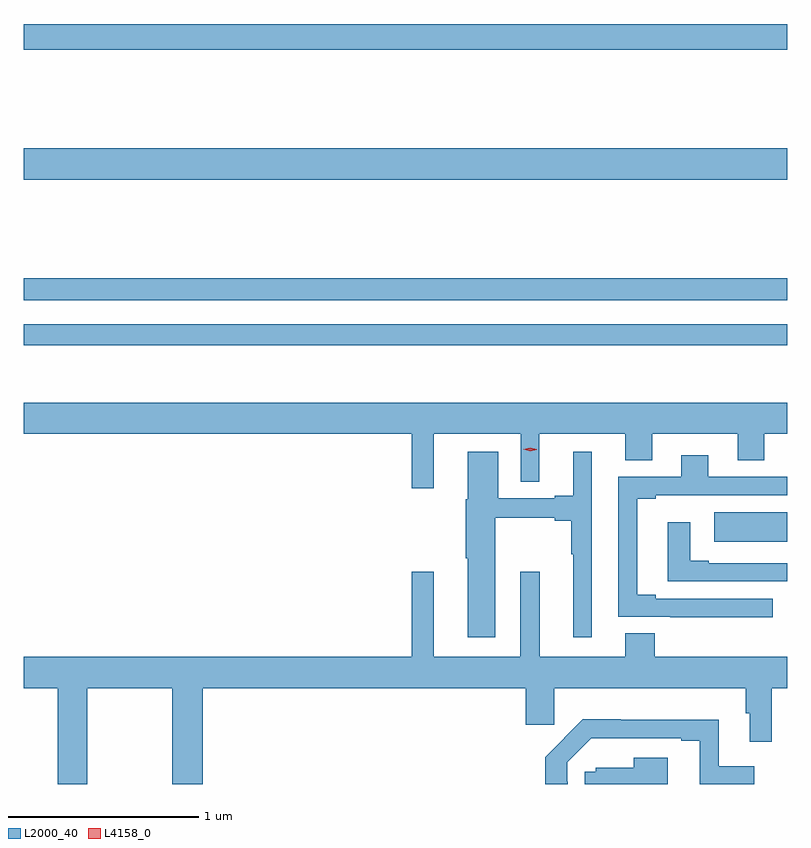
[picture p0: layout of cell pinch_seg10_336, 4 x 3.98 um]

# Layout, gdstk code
import gdstk
lib = gdstk.Library(unit=1e-6, precision=1e-09)
def R(c, l, rs):  # rectangles x0, y0, x1, y1
    for r in rs: c.add(gdstk.rectangle(r[:2], r[2:], *l))
def P(c, l, *ps):  # polygons
    for p in ps: c.add(gdstk.Polygon(p, *l))
L2000_40 = (2000, 40)
L4158_0 = (4158, 0)

pinch_seg10_336 = lib.new_cell('pinch_seg10_336')
R(pinch_seg10_336, L2000_40, [(402.399,1258.46,402.781,1258.615), (398.781,1259.49,402.781,1259.598), (398.781,1259.724,402.781,1259.84), (398.781,1260.356,402.781,1260.52), (398.781,1261.036,402.781,1261.172)])
P(pinch_seg10_336, L2000_40, [(400.93,1259.024),(401.386,1259.024),(401.386,1258.773),(401.483,1258.773),(401.483,1259.024),(401.933,1259.024),(401.933,1258.885),(402.073,1258.885),(402.073,1259.024),(402.521,1259.024),(402.521,1258.885),(402.661,1258.885),(402.661,1259.024),(402.781,1259.024),(402.781,1259.188),(398.781,1259.188),(398.781,1259.024),(400.813,1259.024),(400.813,1258.74),(400.93,1258.74)],
  [(401.251,1258.585),(401.564,1258.585),(401.564,1258.57),(401.649,1258.57),(401.649,1258.393),(401.66,1258.393),(401.66,1257.96),(401.758,1257.96),(401.758,1258.93),(401.66,1258.93),(401.66,1258.699),(401.564,1258.699),(401.564,1258.686),(401.266,1258.686),(401.266,1258.93),(401.108,1258.93),(401.108,1258.683),(401.096,1258.683),(401.096,1258.372),(401.108,1258.372),(401.108,1257.96),(401.251,1257.96)],
  [(402.706,1258.161),(402.091,1258.161),(402.091,1258.181),(401.995,1258.181),(401.995,1258.684),(402.091,1258.684),(402.091,1258.703),(402.363,1258.703),(402.363,1258.704),(402.781,1258.704),(402.781,1258.8),(402.367,1258.8),(402.367,1258.912),(402.227,1258.912),(402.227,1258.8),(401.897,1258.8),(401.897,1258.065),(402.169,1258.065),(402.169,1258.064),(402.706,1258.064)],
  [(402.781,1258.347),(402.37,1258.347),(402.37,1258.36),(402.274,1258.36),(402.274,1258.561),(402.155,1258.561),(402.155,1258.251),(402.781,1258.251)],
  [(399.114,1257.692),(399.559,1257.692),(399.559,1257.19),(399.719,1257.19),(399.719,1257.692),(401.411,1257.692),(401.411,1257.501),(401.561,1257.501),(401.561,1257.692),(402.565,1257.692),(402.565,1257.56),(402.584,1257.56),(402.584,1257.411),(402.701,1257.411),(402.701,1257.692),(402.781,1257.692),(402.781,1257.856),(402.086,1257.856),(402.086,1257.98),(401.933,1257.98),(401.933,1257.856),(401.485,1257.856),(401.485,1258.303),(401.381,1258.303),(401.381,1257.856),(400.93,1257.856),(400.93,1258.303),(400.813,1258.303),(400.813,1257.856),(398.781,1257.856),(398.781,1257.692),(398.959,1257.692),(398.959,1257.19),(399.114,1257.19)],
  [(401.631,1257.203),(401.628,1257.203),(401.628,1257.303),(401.754,1257.429),(402.227,1257.429),(402.227,1257.417),(402.323,1257.417),(402.323,1257.19),(402.608,1257.19),(402.608,1257.282),(402.421,1257.282),(402.421,1257.526),(401.909,1257.526),(401.909,1257.529),(401.71,1257.529),(401.513,1257.331),(401.513,1257.19),(401.631,1257.19)],
  [(402.154,1257.328),(401.978,1257.328),(401.978,1257.274),(401.778,1257.274),(401.778,1257.255),(401.721,1257.255),(401.721,1257.19),(402.154,1257.19)])
P(pinch_seg10_336, L4158_0, [(401.434,1258.933),(401.398,1258.943),(401.398,1258.943),(401.398,1258.943),(401.434,1258.953),(401.469,1258.943),(401.469,1258.942),(401.469,1258.942)])

lib.write_gds('pinch_seg10_336.gds')
